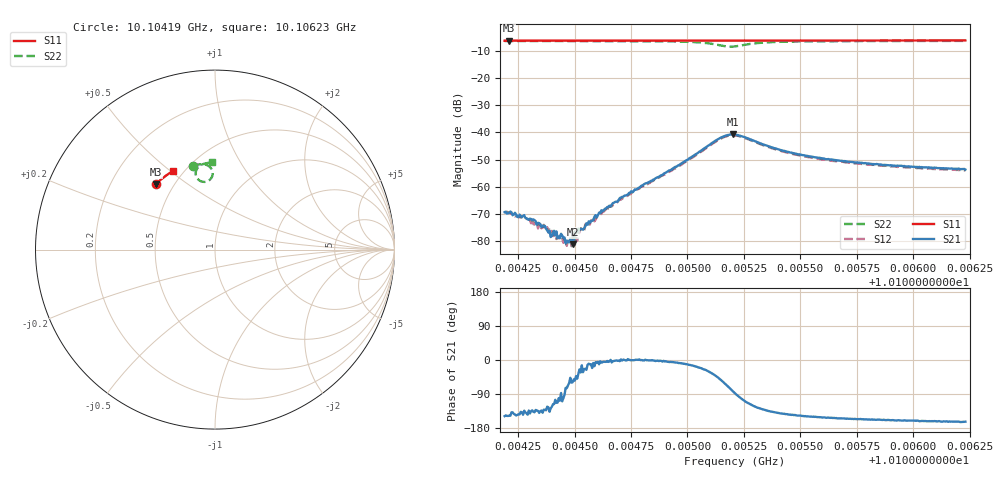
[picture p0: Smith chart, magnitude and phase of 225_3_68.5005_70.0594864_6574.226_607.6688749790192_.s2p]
#  HZ  S  RI  R  50.00
! Rohde & Schwarz Vector Network Analyzer
! Rohde-Schwarz,ZNB20-2Port,1311601062101988,3.16
! Created: UTC 3/20/2024, 5:13:49 PM
! freq[Hz]  re:S11  im:S11  re:S21  im:S21  re:S12  im:S12  re:S22  im:S22
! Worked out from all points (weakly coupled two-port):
!   401 points, 10.10419 GHz to 10.10623 GHz, reference 50 ohm
!   highest |S21| = -40.72 dB at 10.1052 GHz (marker M1); lowest = -81.2 dB at 10.10449 GHz (marker M2)
!   lowest |S11| = -6.2 dB at 10.10421 GHz (marker M3), VSWR 2.93, Z = 20 + j19.1 ohm
!   |S11| at or under -10 dB: nowhere
!   |S22| runs from -8.4 to -6.2 dB; largest |S21 - S12| = 0.00098
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1.010419e10  -0.3309 0.3631  -0.00029 -0.00018  -0.000265 -0.000214  -0.1251 0.4671
1.010421e10  -0.3299 0.364  -0.000279 -0.000181  -0.000261 -0.000194  -0.1237 0.4674
1.0104312e10  -0.3255 0.3684  -0.000166 -0.00018  -0.000171 -0.000188  -0.1163 0.4694
1.0104368e10  -0.3232 0.3707  -0.000126 -0.000142  -7.05e-05 -0.000148  -0.1119 0.4706
1.0104389e10  -0.3222 0.3715  -0.000111 -0.000105  -0.000106 -0.000123  -0.1104 0.471
1.0104414e10  -0.3211 0.3727  -3.26e-05 -0.000122  -6.45e-05 -0.000116  -0.1085 0.4715
1.0104465e10  -0.3187 0.3748  2.76e-05 -9.81e-05  4.05e-05 -7.12e-05  -0.1044 0.4723
1.0104486e10  -0.3179 0.3756  5.07e-05 -8.72e-05  5.37e-05 -5.98e-05  -0.1026 0.4727
1.0104491e10  -0.3178 0.3757  4.48e-05 -7.42e-05  9.46e-05 -6.99e-05  -0.1024 0.4726
1.0104511e10  -0.3167 0.3768  9.94e-05 -0.000115  9.3e-05 -4e-05  -0.1006 0.473
1.0104532e10  -0.3159 0.3774  0.000162 -4.02e-05  0.000152 -6.67e-05  -0.0989 0.4734
1.0104618e10  -0.3118 0.381  0.000366 -4.5e-05  0.000319 -1.61e-05  -0.0912 0.4748
1.010471e10  -0.3077 0.3847  0.000652 -1.8e-05  0.000599 4.3e-05  -0.0822 0.4758
1.0104874e10  -0.3001 0.3913  0.00152 -7.83e-05  0.00147 8.27e-05  -0.0619 0.4755
1.0105139e10  -0.2871 0.4009  0.00512 -0.00571  0.00545 -0.00497  -0.0159 0.4075
1.01052e10  -0.2845 0.4029  0.00127 -0.00911  0.00211 -0.00861  -0.0627 0.3771
1.010521e10  -0.2841 0.4032  0.000341 -0.00913  0.00122 -0.00874  -0.0728 0.3788
1.0105282e10  -0.281 0.4059  -0.00347 -0.00649  -0.00278 -0.00655  -0.1071 0.4175
1.0105415e10  -0.2746 0.4111  -0.00367 -0.00297  -0.00326 -0.00318  -0.0933 0.4595
1.0105552e10  -0.2678 0.4161  -0.00307 -0.00179  -0.0028 -0.00198  -0.0753 0.4727
1.0105894e10  -0.2506 0.4276  -0.00231 -0.000905  -0.00217 -0.00106  -0.0431 0.483
1.0106231e10  -0.233 0.4383  -0.00198 -0.000613  -0.00186 -0.000774  -0.0175 0.4867
